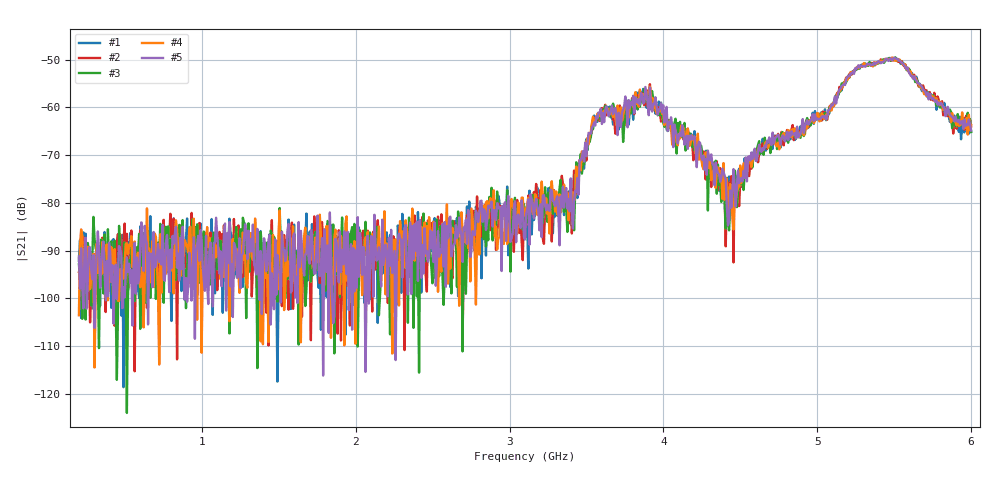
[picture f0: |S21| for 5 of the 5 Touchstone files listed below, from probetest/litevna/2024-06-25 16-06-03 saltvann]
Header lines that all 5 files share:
! NanoVNA-App
! Start: 200MHz Stop: 6GHz Points: 801
! S-Parameter data: F S11 S21 S12 S22
# Hz S RI R 50
!  Frequency  S11_Real  S11_Imag  S21_Real  S21_Imag  S12_Real  S12_Imag  S22_Real  S22_Imag
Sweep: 200 MHz to 6 GHz
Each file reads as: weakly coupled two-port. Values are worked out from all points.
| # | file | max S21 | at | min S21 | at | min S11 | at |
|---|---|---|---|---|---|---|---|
| 1 | 0.s2p | -49.70 dB | 5.463 GHz | -118.6 dB | 490 MHz | -5.8 dB | 2.948 GHz |
| 2 | 3.s2p | -49.90 dB | 5.471 GHz | -115.3 dB | 562.5 MHz | -5.8 dB | 2.948 GHz |
| 3 | 4.s2p | -49.53 dB | 5.507 GHz | -124.0 dB | 511.8 MHz | -5.8 dB | 2.948 GHz |
| 4 | 5.s2p | -49.61 dB | 5.485 GHz | -114.5 dB | 301.5 MHz | -5.8 dB | 2.948 GHz |
| 5 | 7.s2p | -49.64 dB | 5.5 GHz | -116.2 dB | 1.788 GHz | -5.8 dB | 2.948 GHz |
